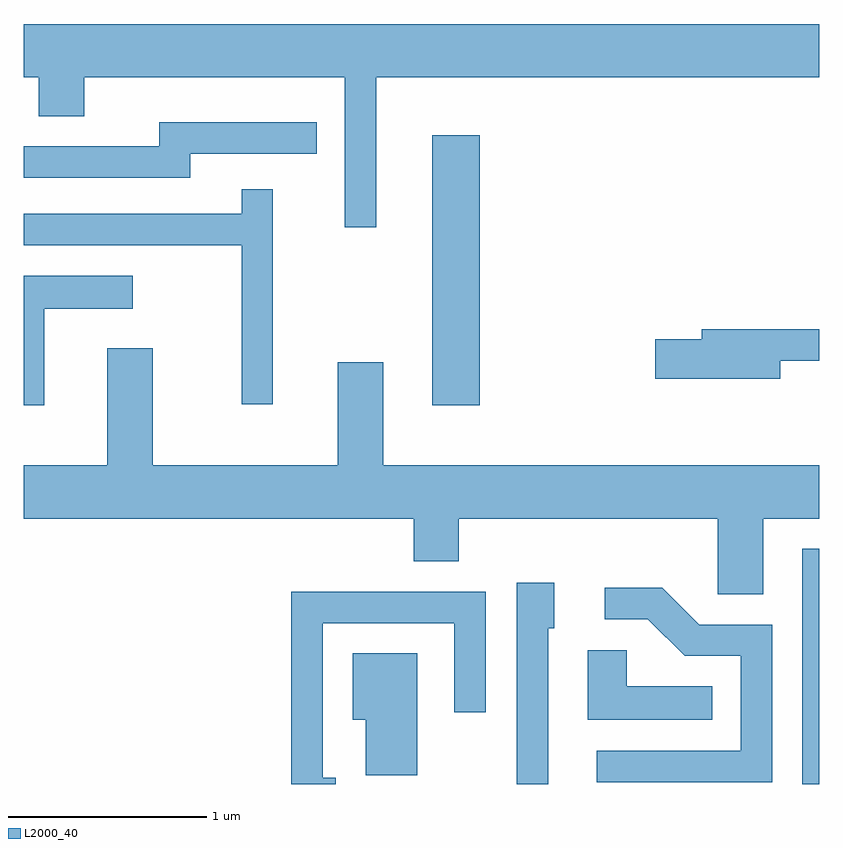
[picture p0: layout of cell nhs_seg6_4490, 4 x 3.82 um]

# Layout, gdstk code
import gdstk
lib = gdstk.Library(unit=1e-6, precision=1e-09)
def R(c, l, rs):  # rectangles x0, y0, x1, y1
    for r in rs: c.add(gdstk.rectangle(r[:2], r[2:], *l))
def P(c, l, *ps):  # polygons
    for p in ps: c.add(gdstk.Polygon(p, *l))
L2000_40 = (2000, 40)

nhs_seg6_4490 = lib.new_cell('nhs_seg6_4490')
R(nhs_seg6_4490, L2000_40, [(325.526,1644.162,325.611,1645.344), (323.666,1646.066,323.904,1647.424)])
P(nhs_seg6_4490, L2000_40, [(323.384,1647.716),(325.611,1647.716),(325.611,1647.984),(321.611,1647.984),(321.611,1647.716),(321.686,1647.716),(321.686,1647.521),(321.914,1647.521),(321.914,1647.716),(323.226,1647.716),(323.226,1646.963),(323.384,1646.963)],
  [(322.449,1647.331),(323.083,1647.331),(323.083,1647.489),(322.291,1647.489),(322.291,1647.369),(321.611,1647.369),(321.611,1647.211),(322.449,1647.211)],
  [(322.864,1647.153),(322.706,1647.153),(322.706,1647.029),(321.611,1647.029),(321.611,1646.871),(322.706,1646.871),(322.706,1646.073),(322.864,1646.073)],
  [(321.714,1646.551),(322.158,1646.551),(322.158,1646.719),(321.611,1646.719),(321.611,1646.066),(321.714,1646.066)],
  [(325.414,1646.291),(325.611,1646.291),(325.611,1646.449),(325.021,1646.449),(325.021,1646.399),(324.786,1646.399),(324.786,1646.201),(325.414,1646.201)],
  [(325.329,1645.496),(325.611,1645.496),(325.611,1645.764),(323.419,1645.764),(323.419,1646.284),(323.191,1646.284),(323.191,1645.764),(322.259,1645.764),(322.259,1646.354),(322.031,1646.354),(322.031,1645.764),(321.611,1645.764),(321.611,1645.496),(323.571,1645.496),(323.571,1645.281),(323.799,1645.281),(323.799,1645.496),(325.101,1645.496),(325.101,1645.116),(325.329,1645.116)],
  [(324.249,1644.946),(324.279,1644.946),(324.279,1645.174),(324.091,1645.174),(324.091,1644.162),(324.249,1644.162)],
  [(325.374,1644.964),(325.007,1644.964),(324.822,1645.149),(324.533,1645.149),(324.533,1644.991),(324.749,1644.991),(324.934,1644.806),(325.216,1644.806),(325.216,1644.329),(324.493,1644.329),(324.493,1644.171),(325.374,1644.171)],
  [(323.179,1644.194),(323.114,1644.194),(323.114,1644.971),(323.776,1644.971),(323.776,1644.523),(323.934,1644.523),(323.934,1645.129),(322.956,1645.129),(322.956,1644.162),(323.179,1644.162)],
  [(325.073,1644.654),(324.644,1644.654),(324.644,1644.834),(324.446,1644.834),(324.446,1644.486),(325.073,1644.486)],
  [(323.589,1644.819),(323.266,1644.819),(323.266,1644.486),(323.331,1644.486),(323.331,1644.206),(323.589,1644.206)])

lib.write_gds('nhs_seg6_4490.gds')
